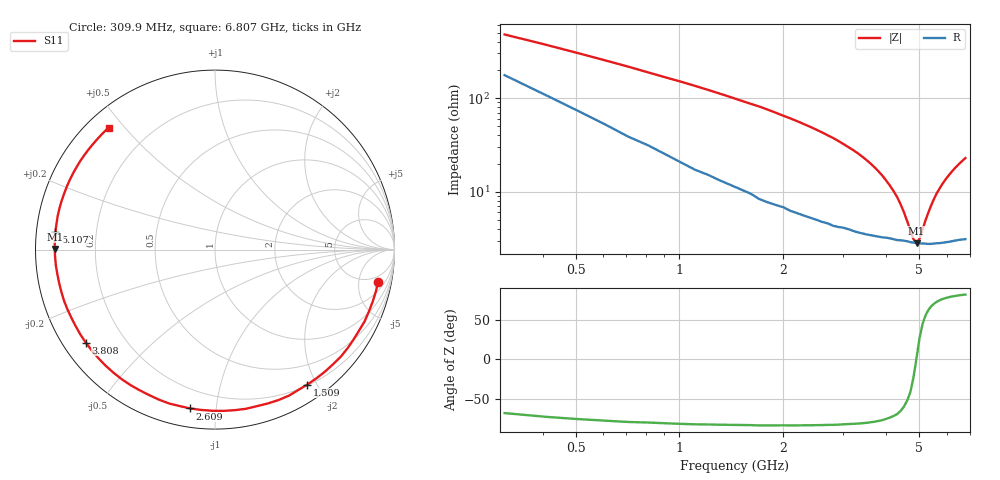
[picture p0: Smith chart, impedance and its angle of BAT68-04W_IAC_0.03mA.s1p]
! Infineon Technologies  Discrete & RF Semiconductors
! BAT68-04W
! IAC = 0.03 mA
! One-Port S-Parameters
# Hz  S  MA  R  50
!f  S11
!Hz  Mag  Ang
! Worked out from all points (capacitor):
!   66 points, 309.9 MHz to 6.807 GHz, reference 50 ohm
!   read as one part to ground: C = 1.09 pF near 309.9 MHz
!   lowest |Z| = 2.82 ohm at 4.908 GHz (marker M1)
!   series resonance near 4.9 GHz, so ESL is about 970 pH
!   S11 on the Smith chart (normalised r, x): 309.9 MHz: 3.52, -8.90; 1.509 GHz: 0.21, -1.87; 2.609 GHz: 0.10, -0.85; 3.808 GHz: 0.07, -0.32; 5.107 GHz: 0.06, +0.06; 6.807 GHz: 0.06, +0.45
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3.0985e8  0.9267 -11.1
5.0975e8  0.9251 -18.4
7.0965e8  0.9245 -25.6
1.0095e9  0.9207 -36.6
1.2094e9  0.9169 -44.1
1.50925e9  0.9109 -55.7
1.70915e9  0.9121 -63.1
2.009e9  0.9029 -75.2
2.10895e9  0.9035 -79.1
2.30885e9  0.8998 -87.0
2.6087e9  0.8958 -98.8
2.8086e9  0.8947 -106.6
3.0085e9  0.8896 -114.6
3.2084e9  0.8896 -122.1
3.4083e9  0.8889 -129.6
3.6082e9  0.8878 -137.0
3.8081e9  0.8869 -144.3
4.10795e9  0.8859 -154.9
4.4078e9  0.8878 -164.7
4.70765e9  0.891 -174.1
4.90755e9  0.8933 179.8
5.10745e9  0.8943 173.6
5.2074e9  0.8949 170.7
5.4073e9  0.8966 165.1
5.6072e9  0.8966 159.4
6.007e9  0.8978 149.1
6.4068e9  0.8989 139.7
6.8066e9  0.9018 131.1
